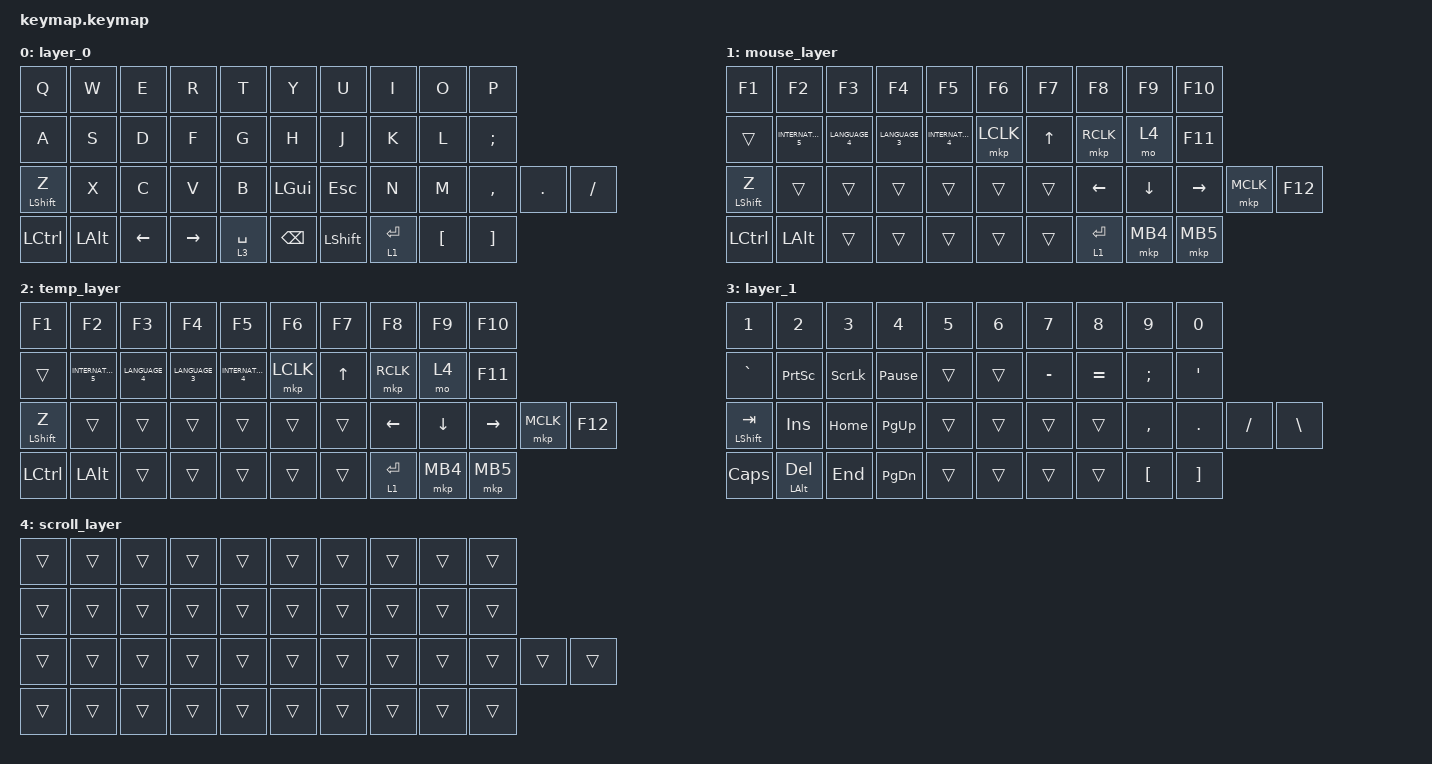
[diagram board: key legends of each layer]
#include <behaviors.dtsi>
#include <dt-bindings/zmk/bt.h>
#include <dt-bindings/zmk/keys.h>
#include <dt-bindings/zmk/pointing.h>

&mt {
    tapping-term-ms = <200>;
    flavor = "balanced";
    quick-tap-ms = <125>;
    require-prior-idle-ms = <150>;
};

/ {
    combos {
        compatible = "zmk,combos";

        btclr {
            bindings = <&bt BT_CLR>;
            key-positions = <25 26>;
        };
    };

    keymap {
        compatible = "zmk,keymap";

        layer_0 {
            bindings = <
&kp Q        &kp W         &kp E     &kp R      &kp T        &kp Y          &kp U           &kp I        &kp O     &kp P
&kp A        &kp S         &kp D     &kp F      &kp G        &kp H          &kp J           &kp K        &kp L     &kp SEMI
&mt LSHFT Z  &kp X         &kp C     &kp V      &kp B        &kp LGUI       &kp ESC         &kp N        &kp M     &kp COMMA  &kp DOT  &kp FSLH
&kp LCTRL    &kp LEFT_ALT  &kp LEFT  &kp RIGHT  &lt 3 SPACE  &kp BACKSPACE  &kp LEFT_SHIFT  &lt 1 ENTER  &kp LBKT  &kp RBKT
            >;
        };

        mouse_layer {
            bindings = <
&kp F1            &kp F2               &kp F3          &kp F4          &kp F5               &kp F6     &kp F7        &kp F8       &kp F9    &kp F10
&trans            &kp INTERNATIONAL_5  &kp LANGUAGE_4  &kp LANGUAGE_3  &kp INTERNATIONAL_4  &mkp LCLK  &kp UP_ARROW  &mkp RCLK    &mo 4     &kp F11
&mt LEFT_SHIFT Z  &trans               &trans          &trans          &trans               &trans     &trans        &kp LEFT     &kp DOWN  &kp RIGHT  &mkp MCLK  &kp F12
&kp LEFT_CONTROL  &kp LEFT_ALT         &trans          &trans          &trans               &trans     &trans        &lt 1 ENTER  &mkp MB4  &mkp MB5
            >;
        };

        temp_layer {
            bindings = <
&kp F1                   &kp F2               &kp F3          &kp F4          &kp F5               &kp F6     &kp F7        &kp F8       &kp F9    &kp F10
&trans                   &kp INTERNATIONAL_5  &kp LANGUAGE_4  &kp LANGUAGE_3  &kp INTERNATIONAL_4  &mkp LCLK  &kp UP_ARROW  &mkp RCLK    &mo 4     &kp F11
&mt LEFT_SHIFT Z  &trans               &trans          &trans          &trans               &trans     &trans        &kp LEFT     &kp DOWN  &kp RIGHT  &mkp MCLK  &kp F12
&kp LCTRL                &kp LEFT_ALT         &trans          &trans          &trans               &trans     &trans        &lt 1 ENTER  &mkp MB4  &mkp MB5
            >;
        };

        layer_1 {
            bindings = <
&kp N1              &kp N2               &kp N3          &kp N4           &kp N5  &kp N6  &kp N7     &kp N8     &kp N9     &kp N0
&kp GRAVE           &kp PRINTSCREEN      &kp SCROLLLOCK  &kp PAUSE_BREAK  &trans  &trans  &kp MINUS  &kp EQUAL  &kp SEMI   &kp APOS
&mt LEFT_SHIFT TAB  &kp INSERT           &kp HOME        &kp PAGE_UP      &trans  &trans  &trans     &trans     &kp COMMA  &kp DOT   &kp FSLH  &kp BSLH
&kp CAPS            &mt LEFT_ALT DELETE  &kp END         &kp PAGE_DOWN    &trans  &trans  &trans     &trans     &kp LBKT   &kp RBKT
            >;
        };

        scroll_layer {
            bindings = <
&trans  &trans  &trans  &trans  &trans  &trans  &trans  &trans  &trans  &trans
&trans  &trans  &trans  &trans  &trans  &trans  &trans  &trans  &trans  &trans
&trans  &trans  &trans  &trans  &trans  &trans  &trans  &trans  &trans  &trans  &trans  &trans
&trans  &trans  &trans  &trans  &trans  &trans  &trans  &trans  &trans  &trans
            >;
        };
    };
};
